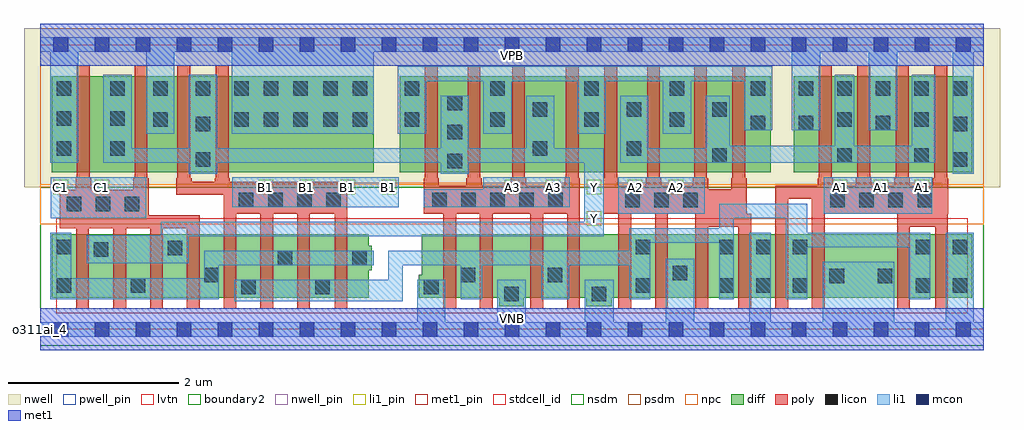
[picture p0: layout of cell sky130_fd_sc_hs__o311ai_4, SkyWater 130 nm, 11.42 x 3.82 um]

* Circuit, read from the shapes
.subckt sky130_fd_sc_hs__o311ai_4 A1 A2 A3 B1 C1 VGND VNB VPB VPWR Y
XM1 Y C1 n1 VNB sky130_fd_pr__nfet_01v8_lvt w=0.74 l=0.15 m=4
XM2 n2 B1 n1 VNB sky130_fd_pr__nfet_01v8_lvt w=0.74 l=0.15 m=4
XM3 n2 A3 VGND VNB sky130_fd_pr__nfet_01v8_lvt w=0.74 l=0.15 m=4
XM4 n2 A2 VGND VNB sky130_fd_pr__nfet_01v8_lvt w=0.74 l=0.15 m=4
XM5 n2 A1 VGND VNB sky130_fd_pr__nfet_01v8_lvt w=0.74 l=0.15 m=4
XM6 Y C1 VPWR VPB sky130_fd_pr__pfet_01v8 w=1.12 l=0.15 m=2
XM7 Y B1 VPWR VPB sky130_fd_pr__pfet_01v8 w=1.12 l=0.15 m=2
XM8 Y A3 n3 VPB sky130_fd_pr__pfet_01v8 w=1.12 l=0.15 m=4
XM9 n4 A2 n3 VPB sky130_fd_pr__pfet_01v8 w=1.12 l=0.15 m=4
XM10 n4 A1 VPWR VPB sky130_fd_pr__pfet_01v8 w=1.12 l=0.15 m=4
.ends

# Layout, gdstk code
import gdstk
lib = gdstk.Library(unit=1e-6, precision=1e-09)
def R(c, l, rs):  # rectangles x0, y0, x1, y1
    for r in rs: c.add(gdstk.rectangle(r[:2], r[2:], *l))
def A(c, l, x, y, w, h, nx, ny, dx, dy):  # array of equal rectangles
    R(c, l, [(x+i*dx, y+j*dy, x+i*dx+w, y+j*dy+h) for i in range(nx) for j in range(ny)])
def P(c, l, *ps):  # polygons
    for p in ps: c.add(gdstk.Polygon(p, *l))
nwell_pin = (64, 16)
nwell = (64, 20)
diff = (65, 20)
poly = (66, 20)
licon = (66, 44)
li1_pin = (67, 16)
li1 = (67, 20)
mcon = (67, 44)
met1_pin = (68, 16)
met1 = (68, 20)
stdcell_id = (81, 4)
nsdm = (93, 44)
psdm = (94, 20)
npc = (95, 20)
pwell_pin = (122, 16)
lvtn = (125, 44)
boundary2 = (236, 0)

sky130_fd_sc_hs__o311ai_ = lib.new_cell('sky130_fd_sc_hs__o311ai_4')
R(sky130_fd_sc_hs__o311ai_, nwell_pin, [(0,3.085,11.04,3.33)])
R(sky130_fd_sc_hs__o311ai_, nwell, [(-0.19,1.66,11.23,3.52)])
R(sky130_fd_sc_hs__o311ai_, diff, [(0.135,1.84,3.9,2.96), (4.205,1.84,8.545,2.96), (8.815,1.84,10.905,2.96)])
P(sky130_fd_sc_hs__o311ai_, diff, [(3.88,0.98),(3.845,0.98),(3.845,1.11),(0.135,1.11),(0.135,0.37),(3.845,0.37),(3.845,0.69),(3.88,0.69)],
  [(10.905,1.11),(4.465,1.11),(4.465,0.64),(4.43,0.64),(4.43,0.37),(5.37,0.37),(5.37,0.27),(5.66,0.27),(5.66,0.37),(6.39,0.37),(6.39,0.27),(6.69,0.27),(6.69,0.37),(10.905,0.37)])
P(sky130_fd_sc_hs__o311ai_, poly, [(1.865,1.335),(1.27,1.335),(1.27,1.765),(1.255,1.765),(1.255,3.09),(1.105,3.09),(1.105,1.765),(1.09,1.765),(1.09,1.63),(0.595,1.63),(0.595,1.765),(0.58,1.765),(0.58,3.09),(0.43,3.09),(0.43,1.765),(0.415,1.765),(0.415,1.63),(0.23,1.63),(0.23,1.185),(0.42,1.185),(0.42,0.24),(0.57,0.24),(0.57,1.185),(0.855,1.185),(0.855,0.24),(1.005,0.24),(1.005,1.185),(1.285,1.185),(1.285,0.24),(1.435,0.24),(1.435,1.185),(1.715,1.185),(1.715,0.24),(1.865,0.24)],
  [(3.595,1.725),(2.22,1.725),(2.22,1.765),(2.205,1.765),(2.205,3.09),(2.055,3.09),(2.055,1.765),(2.04,1.765),(2.04,1.725),(1.77,1.725),(1.77,1.765),(1.755,1.765),(1.755,3.09),(1.605,3.09),(1.605,1.765),(1.59,1.765),(1.59,1.575),(2.145,1.575),(2.145,0.24),(2.295,0.24),(2.295,1.35),(2.575,1.35),(2.575,0.24),(2.725,0.24),(2.725,1.35),(3.005,1.35),(3.005,0.24),(3.155,0.24),(3.155,1.35),(3.445,1.35),(3.445,0.24),(3.595,0.24)],
  [(6.315,1.765),(6.3,1.765),(6.3,3.09),(6.15,3.09),(6.15,1.765),(6.135,1.765),(6.135,1.68),(5.685,1.68),(5.685,1.765),(5.67,1.765),(5.67,3.09),(5.52,3.09),(5.52,1.765),(5.505,1.765),(5.505,1.68),(5.165,1.68),(5.165,1.765),(5.15,1.765),(5.15,3.09),(5,3.09),(5,1.765),(4.985,1.765),(4.985,1.68),(4.665,1.68),(4.665,1.765),(4.65,1.765),(4.65,3.09),(4.5,3.09),(4.5,1.765),(4.485,1.765),(4.485,1.35),(4.715,1.35),(4.715,0.24),(4.865,0.24),(4.865,1.35),(5.145,1.35),(5.145,0.24),(5.295,0.24),(5.295,1.35),(5.735,1.35),(5.735,0.24),(5.885,0.24),(5.885,1.35),(6.165,1.35),(6.165,0.24),(6.315,0.24)],
  [(8.32,1.35),(8.265,1.35),(8.265,1.765),(8.25,1.765),(8.25,3.09),(8.1,3.09),(8.1,1.765),(8.085,1.765),(8.085,1.64),(7.815,1.64),(7.815,1.765),(7.8,1.765),(7.8,3.09),(7.65,3.09),(7.65,1.765),(7.635,1.765),(7.635,1.68),(7.265,1.68),(7.265,1.765),(7.25,1.765),(7.25,3.09),(7.1,3.09),(7.1,1.765),(7.085,1.765),(7.085,1.68),(6.765,1.68),(6.765,1.765),(6.75,1.765),(6.75,3.09),(6.6,3.09),(6.6,1.765),(6.585,1.765),(6.585,1.35),(6.765,1.35),(6.765,0.24),(6.915,0.24),(6.915,1.35),(7.195,1.35),(7.195,0.24),(7.345,0.24),(7.345,1.35),(7.665,1.35),(7.665,0.24),(7.815,0.24),(7.815,1.2),(8.17,1.2),(8.17,0.24),(8.32,0.24)],
  [(10.625,1.765),(10.61,1.765),(10.61,3.09),(10.46,3.09),(10.46,1.765),(10.445,1.765),(10.445,1.68),(10.175,1.68),(10.175,1.765),(10.16,1.765),(10.16,3.09),(10.01,3.09),(10.01,1.765),(9.995,1.765),(9.995,1.68),(9.725,1.68),(9.725,1.765),(9.71,1.765),(9.71,3.09),(9.56,3.09),(9.56,1.765),(9.545,1.765),(9.545,1.68),(9.275,1.68),(9.275,1.765),(9.26,1.765),(9.26,3.09),(9.11,3.09),(9.11,1.765),(9.095,1.765),(9.095,1.68),(8.6,1.68),(8.6,0.24),(8.75,0.24),(8.75,1.53),(9.03,1.53),(9.03,0.24),(9.18,0.24),(9.18,1.35),(10.025,1.35),(10.025,0.24),(10.175,0.24),(10.175,1.2),(10.47,1.2),(10.47,0.24),(10.62,0.24),(10.62,1.35),(10.625,1.35)])
A(sky130_fd_sc_hs__o311ai_, licon, 7.945, 0.43, 0.17, 0.17, 3, 2, 0.43, 0.45)
A(sky130_fd_sc_hs__o311ai_, licon, 0.31, 1.38, 0.17, 0.17, 3, 1, 0.34, 0)
A(sky130_fd_sc_hs__o311ai_, licon, 2.325, 1.43, 0.17, 0.17, 4, 1, 0.34, 0)
A(sky130_fd_sc_hs__o311ai_, licon, 4.585, 1.43, 0.17, 0.17, 5, 1, 0.34, 0)
A(sky130_fd_sc_hs__o311ai_, licon, 6.845, 1.43, 0.17, 0.17, 3, 1, 0.34, 0)
A(sky130_fd_sc_hs__o311ai_, licon, 9.245, 1.43, 0.17, 0.17, 4, 1, 0.34, 0)
A(sky130_fd_sc_hs__o311ai_, licon, 4.765, 1.885, 0.17, 0.17, 1, 3, 0, 0.34)
A(sky130_fd_sc_hs__o311ai_, licon, 0.195, 2.03, 0.17, 0.17, 1, 3, 0, 0.35)
A(sky130_fd_sc_hs__o311ai_, licon, 2.27, 2.37, 0.17, 0.17, 3, 2, 0.345, 0.36)
A(sky130_fd_sc_hs__o311ai_, licon, 0.82, 2.73, 0.17, 0.17, 3, 1, 0.5, 0)
A(sky130_fd_sc_hs__o311ai_, licon, 8.875, 2.73, 0.17, 0.17, 5, 1, 0.45, 0)
R(sky130_fd_sc_hs__o311ai_, licon, [(5.43,0.33,5.6,0.5), (6.455,0.33,6.625,0.5), (2.35,0.41,2.52,0.58), (3.215,0.41,3.385,0.58), (4.49,0.41,4.66,0.58), (0.195,0.43,0.365,0.6), (1.06,0.43,1.23,0.6), (6.97,0.43,7.14,0.6), (10.245,0.43,10.415,0.6), (10.675,0.43,10.845,0.6), (9.235,0.54,9.405,0.71), (9.8,0.54,9.97,0.71), (1.92,0.55,2.09,0.72), (4.92,0.55,5.09,0.72), (5.94,0.55,6.11,0.72), (7.4,0.575,7.57,0.745), (2.78,0.75,2.95,0.92), (3.65,0.75,3.82,0.92), (0.625,0.85,0.795,1.02), (1.49,0.865,1.66,1.035), (0.195,0.88,0.365,1.05), (6.97,0.88,7.14,1.05), (10.245,0.88,10.415,1.05), (10.675,0.88,10.845,1.05), (1.82,1.9,1.99,2.07), (10.675,1.9,10.845,2.07), (7.865,1.95,8.035,2.12), (9.325,1.95,9.495,2.12), (10.225,1.95,10.395,2.12), (0.82,2.03,0.99,2.2), (5.765,2.03,5.935,2.2), (6.865,2.03,7.035,2.2), (1.82,2.315,1.99,2.485), (10.675,2.315,10.845,2.485), (8.315,2.33,8.485,2.5), (8.875,2.33,9.045,2.5), (9.775,2.33,9.945,2.5), (1.32,2.37,1.49,2.54), (3.31,2.37,3.48,2.54), (3.655,2.37,3.825,2.54), (4.265,2.37,4.435,2.54), (5.265,2.37,5.435,2.54), (6.365,2.37,6.535,2.54), (7.365,2.37,7.535,2.54), (9.325,2.37,9.495,2.54), (10.225,2.37,10.395,2.54), (0.82,2.38,0.99,2.55), (5.765,2.485,5.935,2.655), (6.865,2.485,7.035,2.655), (7.865,2.485,8.035,2.655), (3.31,2.73,3.48,2.9), (3.655,2.73,3.825,2.9), (4.265,2.73,4.435,2.9), (5.265,2.73,5.435,2.9), (6.365,2.73,6.535,2.9), (7.365,2.73,7.535,2.9), (8.315,2.73,8.485,2.9)])
A(sky130_fd_sc_hs__o311ai_, li1_pin, 2.555, 1.58, 0.17, 0.17, 4, 1, 0.48, 0)
A(sky130_fd_sc_hs__o311ai_, li1_pin, 5.435, 1.58, 0.17, 0.17, 5, 1, 0.48, 0)
A(sky130_fd_sc_hs__o311ai_, li1_pin, 9.275, 1.58, 0.17, 0.17, 3, 1, 0.48, 0)
R(sky130_fd_sc_hs__o311ai_, li1_pin, [(6.395,1.21,6.565,1.38), (0.155,1.58,0.325,1.75), (0.635,1.58,0.805,1.75)])
R(sky130_fd_sc_hs__o311ai_, li1, [(0.125,1.3,1.24,1.78), (6.765,1.35,7.775,1.78), (9.165,1.35,10.435,1.78), (2.245,1.43,4.195,1.78), (2.245,1.43,2.69,1.64)])
P(sky130_fd_sc_hs__o311ai_, li1, [(2.24,2.29),(2.24,3.245),(1.57,3.245),(1.57,2.29),(1.24,2.29),(1.24,3.245),(0.445,3.245),(0.445,1.95),(0.115,1.95),(0.115,3.245),(0,3.245),(0,3.415),(11.04,3.415),(11.04,3.245),(10.925,3.245),(10.925,1.82),(10.675,1.82),(10.675,3.245),(10.025,3.245),(10.025,2.33),(9.695,2.33),(9.695,3.245),(9.125,3.245),(9.125,2.33),(8.795,2.33),(8.795,3.245),(3.905,3.245),(3.905,2.29)],
  [(4.41,0.085),(4.41,0.58),(4.74,0.58),(4.74,0.085),(5.35,0.085),(5.35,0.58),(5.68,0.58),(5.68,0.085),(6.37,0.085),(6.37,0.58),(6.71,0.58),(6.71,0.085),(7.32,0.085),(7.32,0.825),(7.65,0.825),(7.65,0.085),(8.295,0.085),(8.295,1.13),(8.545,1.13),(8.545,0.085),(9.155,0.085),(9.155,0.79),(9.995,0.79),(9.995,0.085),(10.595,0.085),(10.595,1.13),(10.925,1.13),(10.925,0.085),(11.04,0.085),(11.04,-0.085),(0,-0.085),(0,0.085)],
  [(1.74,1.09),(1.74,0.77),(0.545,0.77),(0.545,1.1),(1.41,1.1),(1.41,1.26),(6.365,1.26),(6.365,1.95),(5.015,1.95),(5.015,1.82),(4.685,1.82),(4.685,1.95),(2.07,1.95),(2.07,1.82),(1.74,1.82),(1.74,1.95),(0.74,1.95),(0.74,2.98),(1.07,2.98),(1.07,2.12),(1.74,2.12),(1.74,2.98),(2.07,2.98),(2.07,2.12),(4.685,2.12),(4.685,2.735),(5.015,2.735),(5.015,2.12),(5.685,2.12),(5.685,2.735),(6.015,2.735),(6.015,2.12),(6.595,2.12),(6.595,1.09)],
  [(6.195,1.78),(5.185,1.78),(5.185,1.64),(4.485,1.64),(4.485,1.43),(6.195,1.43)],
  [(8.565,3.075),(4.185,3.075),(4.185,2.29),(4.515,2.29),(4.515,2.905),(5.185,2.905),(5.185,2.29),(5.515,2.29),(5.515,2.905),(6.285,2.905),(6.285,2.29),(6.615,2.29),(6.615,2.905),(7.285,2.905),(7.285,2.29),(7.615,2.29),(7.615,2.905),(8.235,2.905),(8.235,2.33),(8.565,2.33)],
  [(10.475,2.98),(10.195,2.98),(10.195,2.15),(9.525,2.15),(9.525,2.98),(9.295,2.98),(9.295,2.15),(8.065,2.15),(8.065,2.735),(7.785,2.735),(7.785,2.12),(7.115,2.12),(7.115,2.735),(6.785,2.735),(6.785,1.95),(10.475,1.95)],
  [(1.92,0.6),(1.92,0.92),(3.9,0.92),(3.9,0.75),(2.09,0.75),(2.09,0.35),(0.115,0.35),(0.115,1.13),(0.365,1.13),(0.365,0.6)],
  [(4.07,0.58),(4.07,0.92),(6.89,0.92),(6.89,1.18),(7.945,1.18),(7.945,1.47),(8.975,1.47),(8.975,1.13),(10.415,1.13),(10.415,0.35),(10.165,0.35),(10.165,0.96),(8.975,0.96),(8.975,0.35),(8.725,0.35),(8.725,1.3),(8.115,1.3),(8.115,0.35),(7.945,0.35),(7.945,1.01),(7.14,1.01),(7.14,0.35),(6.89,0.35),(6.89,0.75),(6.19,0.75),(6.19,0.35),(5.86,0.35),(5.86,0.75),(5.17,0.75),(5.17,0.35),(4.92,0.35),(4.92,0.75),(4.24,0.75),(4.24,0.33),(2.27,0.33),(2.27,0.58)])
A(sky130_fd_sc_hs__o311ai_, mcon, 0.155, -0.085, 0.17, 0.17, 23, 2, 0.48, 3.33)
R(sky130_fd_sc_hs__o311ai_, met1_pin, [(0,0,11.04,0.245), (0,3.085,11.04,3.33)])
R(sky130_fd_sc_hs__o311ai_, met1, [(0,-0.245,11.04,0.245), (0,3.085,11.04,3.575)])
R(sky130_fd_sc_hs__o311ai_, stdcell_id, [(0,0,11.04,3.33)])
R(sky130_fd_sc_hs__o311ai_, nsdm, [(0,-0.19,11.04,1.66)])
P(sky130_fd_sc_hs__o311ai_, psdm, [(11.04,3.52),(0,3.52),(0,1.66),(2.2,1.66),(2.2,1.71),(6.225,1.71),(6.225,1.66),(6.735,1.66),(6.735,1.71),(7.805,1.71),(7.805,1.66),(9.135,1.66),(9.135,1.71),(10.55,1.71),(10.55,1.66),(11.04,1.66)])
R(sky130_fd_sc_hs__o311ai_, npc, [(0,1.23,11.04,1.7)])
R(sky130_fd_sc_hs__o311ai_, pwell_pin, [(0,0,11.04,0.245)])
R(sky130_fd_sc_hs__o311ai_, lvtn, [(0.19,0.19,10.85,1.3)])
R(sky130_fd_sc_hs__o311ai_, boundary2, [(0,0,11.04,3.33)])
sky130_fd_sc_hs__o311ai_.add(gdstk.Label('o311ai_4', (0,0), layer=83, texttype=44))
sky130_fd_sc_hs__o311ai_.add(gdstk.Label('VNB', (5.52,0.123), layer=64, texttype=59))
sky130_fd_sc_hs__o311ai_.add(gdstk.Label('VPB', (5.52,3.208), layer=64, texttype=5))
sky130_fd_sc_hs__o311ai_.add(gdstk.Label('VPWR', (5.52,3.208), layer=68, texttype=5))
sky130_fd_sc_hs__o311ai_.add(gdstk.Label('VGND', (5.52,0.123), layer=68, texttype=5))
sky130_fd_sc_hs__o311ai_.add(gdstk.Label('Y', (6.48,1.295), layer=67, texttype=5))
sky130_fd_sc_hs__o311ai_.add(gdstk.Label('Y', (6.48,1.665), layer=67, texttype=5))
sky130_fd_sc_hs__o311ai_.add(gdstk.Label('C1', (0.24,1.665), layer=67, texttype=5))
sky130_fd_sc_hs__o311ai_.add(gdstk.Label('C1', (0.72,1.665), layer=67, texttype=5))
sky130_fd_sc_hs__o311ai_.add(gdstk.Label('B1', (2.64,1.665), layer=67, texttype=5))
sky130_fd_sc_hs__o311ai_.add(gdstk.Label('B1', (3.12,1.665), layer=67, texttype=5))
sky130_fd_sc_hs__o311ai_.add(gdstk.Label('B1', (3.6,1.665), layer=67, texttype=5))
sky130_fd_sc_hs__o311ai_.add(gdstk.Label('B1', (4.08,1.665), layer=67, texttype=5))
sky130_fd_sc_hs__o311ai_.add(gdstk.Label('A3', (5.52,1.665), layer=67, texttype=5))
sky130_fd_sc_hs__o311ai_.add(gdstk.Label('A3', (6,1.665), layer=67, texttype=5))
sky130_fd_sc_hs__o311ai_.add(gdstk.Label('A2', (6.96,1.665), layer=67, texttype=5))
sky130_fd_sc_hs__o311ai_.add(gdstk.Label('A2', (7.44,1.665), layer=67, texttype=5))
sky130_fd_sc_hs__o311ai_.add(gdstk.Label('A1', (9.36,1.665), layer=67, texttype=5))
sky130_fd_sc_hs__o311ai_.add(gdstk.Label('A1', (9.84,1.665), layer=67, texttype=5))
sky130_fd_sc_hs__o311ai_.add(gdstk.Label('A1', (10.32,1.665), layer=67, texttype=5))

lib.write_gds('sky130_fd_sc_hs__o311ai_4.gds')
